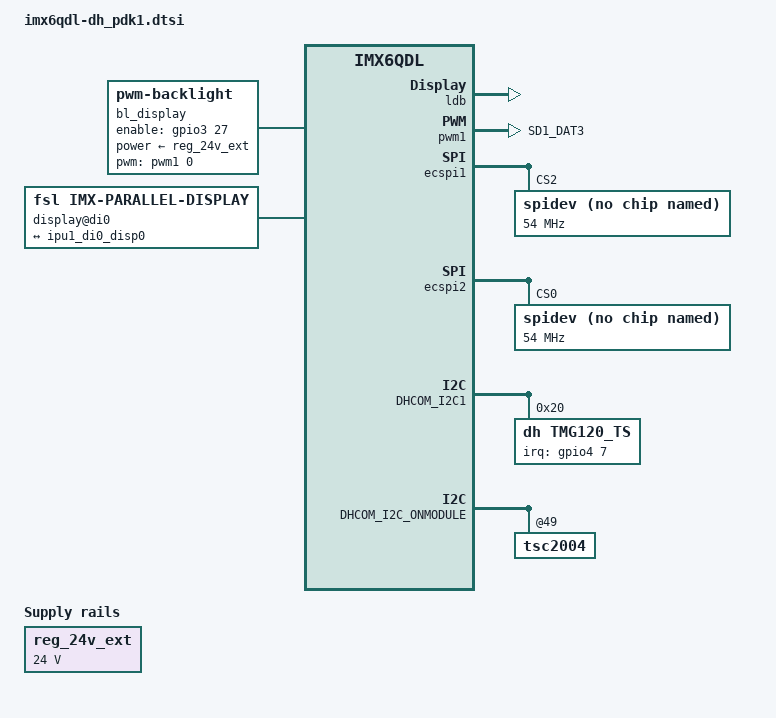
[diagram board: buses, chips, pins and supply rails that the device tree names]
/*
 * Copyright 2015 DH electronics GmbH
 *
 * The code contained herein is licensed under the GNU General Public
 * License. You may obtain a copy of the GNU General Public License
 * Version 2 or later at the following locations:
 *
 * http://www.opensource.org/licenses/gpl-license.html
 * http://www.gnu.org/copyleft/gpl.html
 */

#include <dt-bindings/pwm/pwm.h>
#include <dt-bindings/gpio/gpio.h>

/ {
	bl_display {
		compatible = "pwm-backlight";
		pwms = <&pwm1 0 50000 PWM_POLARITY_INVERTED>;			// PWM polarity can be overwritten by bootargs
		backlight-sysfs-name = "display";
		// brightness value  0 1  2  3  4  5  6  7   8   9   10
		brightness-levels = <0 16 22 30 40 55 75 102 138 188 255>;
		default-brightness-level = <8>;					// Default level can be set to 0 by bootargs
		enable-gpios = <&gpio3 27 GPIO_ACTIVE_HIGH>;			// GPIO number and its polarity can be overwritten by bootargs
		power-supply = <&reg_24v_ext>;
		status = "okay";
	};

	regulators {
		reg_24v_ext: 24V_EXT {
			compatible = "regulator-fixed";
			regulator-name = "24V_EXT";
			regulator-min-microvolt = <24000000>;
			regulator-max-microvolt = <24000000>;
			regulator-always-on;
		};
	};

	display@di0 {								// Parallel display interface
		compatible = "fsl,imx-parallel-display";
		interface-pix-fmt = "rgb24";
		pinctrl-names = "default";
		pinctrl-0 = <&pinctrl_dhcom_ipu1>;
		status = "okay";

		port {
			display0_in: endpoint {
				remote-endpoint = <&ipu1_di0_disp0>;
			};
		};

		display-timings {
			// DH display ID 13
			DataImage_7inch_FG0700G3DSSW {
				dh-display-ID = "013";
				clock-frequency = <33260000>;
				hactive = <800>;
				vactive = <480>;
				hfront-porch = <42>;
				hback-porch = <86>;
				hsync-len = <128>;
				vfront-porch = <10>;
				vback-porch = <33>;
				vsync-len = <2>;
				hsync-active = <0>;
				vsync-active = <0>;
				de-active = <1>;
				pixelclk-active = <1>;
			};
		};
	};

	/* TODO GPIOs */
	/*
	gpio-keys {
		compatible = "gpio-keys";

		volume-up {
			label = "Volume Up";
			gpios = <&gpio1 4 0>;
			gpio-key,wakeup;
			linux,code = <115>; 	// KEY_VOLUMEUP
		};

		volume-down {
			label = "Volume Down";
			gpios = <&gpio1 5 0>;
			gpio-key,wakeup;
			linux,code = <114>;	// KEY_VOLUMEDOWN
		};
	};*/
};

&ipu1_di0_disp0 {
	remote-endpoint = <&display0_in>;
};

&ldb {										// LVDS display interface
	status = "okay";

	lvds-channel@0 {
		fsl,data-mapping = "spwg";
		fsl,data-width = <24>;
		status = "okay";

		// Set your LVDS display timings here
		// To Avoid interference comment the parallel display timings out
	/*	display-timings {						
			// DH display ID 10
			LG_7inch_LB070WV8 {
				dh-display-ID = "010";
				clock-frequency = <33250000>;
				hactive = <800>;
				vactive = <480>;
				hfront-porch = <64>;
				hback-porch = <64>;
				hsync-len = <128>;
				vfront-porch = <10>;
				vback-porch = <10>;
				vsync-len = <25>;
				hsync-active = <1>;
				vsync-active = <1>;
				de-active = <1>;
				pixelclk-active = <0>;
			};
		};*/
	};

	lvds-channel@1 {
		fsl,data-mapping = "spwg";
		fsl,data-width = <24>;
		status = "okay";
	};
};

&pwm1 {										// Backlight PWM
	#pwm-cells = <3>;							// Needed for inversion
	pinctrl-names = "default";
	pinctrl-0 = <&pinctrl_dhcom_pwm1>;
	status = "okay";
};

&ecspi1 {									// ********** SPI 1 **********
	spidev@2 {								// ==> /dev/spidev0.2
		compatible =  "spidev", "fsl,ecspi";
		reg = <2>;							// SS2
		spi-max-frequency = <54000000>;
		spi-cpha;							// Shifted clock phase (CPHA) mode
		spi-cpol;							// Inverse clock polarity (CPOL) mode
	};
};

&ecspi2 {									// ********** SPI 2 **********
	spidev@0 {								// ==> /dev/spidev1.0
		compatible =  "spidev", "fsl,ecspi";
		reg = <0>;							// SS0
		spi-max-frequency = <54000000>;
		spi-cpha;							// Shifted clock phase (CPHA) mode
		spi-cpol;							// Inverse clock polarity (CPOL) mode
	};
};

&DHCOM_I2C1 {									// ********** I2C 1 **********
	tmg120_ts@20 {								// Touch controller "DH-Touch"
		compatible = "dh,tmg120_ts";
		reg = <0x20>;
		interrupt-parent = <&gpio4>;
		interrupts = <7 2>;
		status = "okay";
	};
};

&DHCOM_I2C2 {									// ********** I2C 2 **********
};

&DHCOM_I2C_ONMODULE {								// ****** I2C onModule *******
	tsc2004@49 {								// Touch controller TI TSC2014 (on Board)
		status = "okay";
	};
};

&iomuxc {
	pinctrl-names = "default";
	pinctrl-0 = <&pinctrl_dhcom_hog_base &pinctrl_dhcom_hog>;

	imx6qdl-pdk {
		pinctrl_dhcom_hog: hog_grp {
			fsl,pins = <
				MX6QDL_PAD_GPIO_2__GPIO1_IO02       0x400120B0  // GPIO A
				MX6QDL_PAD_GPIO_4__GPIO1_IO04       0x400120B0  // GPIO B
				MX6QDL_PAD_GPIO_5__GPIO1_IO05       0x400120B0  // GPIO C
				MX6QDL_PAD_CSI0_DAT17__GPIO6_IO03   0x400120B0  // GPIO D
				MX6QDL_PAD_GPIO_19__GPIO4_IO05      0x400120B0  // GPIO E
				MX6QDL_PAD_DI0_PIN4__GPIO4_IO20     0x400120B0  // GPIO F
				MX6QDL_PAD_EIM_D27__GPIO3_IO27      0x120B0     // GPIO G -> Backlight Enable
				MX6QDL_PAD_KEY_ROW0__GPIO4_IO07     0x120B0     // GPIO H -> Touch Interrupt picoITX dh-touch
				MX6QDL_PAD_KEY_COL1__GPIO4_IO08     0x400120B0  // GPIO I
				MX6QDL_PAD_NANDF_CS1__GPIO6_IO14    0x400120B0  // GPIO J
				MX6QDL_PAD_NANDF_CS2__GPIO6_IO15    0x400120B0  // GPIO K
				MX6QDL_PAD_KEY_ROW1__GPIO4_IO09     0x400120B0  // GPIO L
				MX6QDL_PAD_SD3_DAT5__GPIO7_IO00     0x400120B0  // GPIO M
				MX6QDL_PAD_SD3_DAT4__GPIO7_IO01     0x400120B0  // GPIO N
				MX6QDL_PAD_CSI0_VSYNC__GPIO5_IO21   0x400120B0  // GPIO O
				MX6QDL_PAD_GPIO_18__GPIO7_IO13      0x400120B0  // GPIO P
				MX6QDL_PAD_SD1_CMD__GPIO1_IO18      0x400120B0  // GPIO Q
				MX6QDL_PAD_SD1_DAT0__GPIO1_IO16     0x400120B0  // GPIO R
				MX6QDL_PAD_SD1_DAT1__GPIO1_IO17     0x400120B0  // GPIO S
				MX6QDL_PAD_SD1_DAT2__GPIO1_IO19     0x400120B0  // GPIO T
				MX6QDL_PAD_SD1_CLK__GPIO1_IO20      0x400120B0  // GPIO U
				MX6QDL_PAD_CSI0_PIXCLK__GPIO5_IO18  0x400120B0  // GPIO V
				MX6QDL_PAD_CSI0_MCLK__GPIO5_IO19    0x400120B0  // GPIO W
				MX6QDL_PAD_KEY_COL0__GPIO4_IO06     0x400120B0  // INT_HIGHEST_PRIORITY
			>;
		};

		pinctrl_dhcom_ipu1: ipu1_grp {
			fsl,pins = <
				MX6QDL_PAD_DI0_DISP_CLK__IPU1_DI0_DISP_CLK 0x10         // RGB_PCLK
				MX6QDL_PAD_DI0_PIN15__IPU1_DI0_PIN15       0x10         // RGB_DATA_EN
				MX6QDL_PAD_DI0_PIN2__IPU1_DI0_PIN02        0x10         // RGB_HSYNC
				MX6QDL_PAD_DI0_PIN3__IPU1_DI0_PIN03        0x10         // RGB_VSYNC
				MX6QDL_PAD_DISP0_DAT0__IPU1_DISP0_DATA00   0x10
				MX6QDL_PAD_DISP0_DAT1__IPU1_DISP0_DATA01   0x10
				MX6QDL_PAD_DISP0_DAT2__IPU1_DISP0_DATA02   0x10
				MX6QDL_PAD_DISP0_DAT3__IPU1_DISP0_DATA03   0x10
				MX6QDL_PAD_DISP0_DAT4__IPU1_DISP0_DATA04   0x10
				MX6QDL_PAD_DISP0_DAT5__IPU1_DISP0_DATA05   0x10
				MX6QDL_PAD_DISP0_DAT6__IPU1_DISP0_DATA06   0x10
				MX6QDL_PAD_DISP0_DAT7__IPU1_DISP0_DATA07   0x10
				MX6QDL_PAD_DISP0_DAT8__IPU1_DISP0_DATA08   0x10
				MX6QDL_PAD_DISP0_DAT9__IPU1_DISP0_DATA09   0x10
				MX6QDL_PAD_DISP0_DAT10__IPU1_DISP0_DATA10  0x10
				MX6QDL_PAD_DISP0_DAT11__IPU1_DISP0_DATA11  0x10
				MX6QDL_PAD_DISP0_DAT12__IPU1_DISP0_DATA12  0x10
				MX6QDL_PAD_DISP0_DAT13__IPU1_DISP0_DATA13  0x10
				MX6QDL_PAD_DISP0_DAT14__IPU1_DISP0_DATA14  0x10
				MX6QDL_PAD_DISP0_DAT15__IPU1_DISP0_DATA15  0x10
				MX6QDL_PAD_DISP0_DAT16__IPU1_DISP0_DATA16  0x10
				MX6QDL_PAD_DISP0_DAT17__IPU1_DISP0_DATA17  0x10
				MX6QDL_PAD_DISP0_DAT18__IPU1_DISP0_DATA18  0x10
				MX6QDL_PAD_DISP0_DAT19__IPU1_DISP0_DATA19  0x10
				MX6QDL_PAD_DISP0_DAT20__IPU1_DISP0_DATA20  0x10
				MX6QDL_PAD_DISP0_DAT21__IPU1_DISP0_DATA21  0x10
				MX6QDL_PAD_DISP0_DAT22__IPU1_DISP0_DATA22  0x10
				MX6QDL_PAD_DISP0_DAT23__IPU1_DISP0_DATA23  0x10
			>;
		};

		pinctrl_dhcom_pwm1: pwm1_grp {
			fsl,pins = <
				MX6QDL_PAD_SD1_DAT3__PWM1_OUT       0x1b0b1
			>;
		};
	};
};
